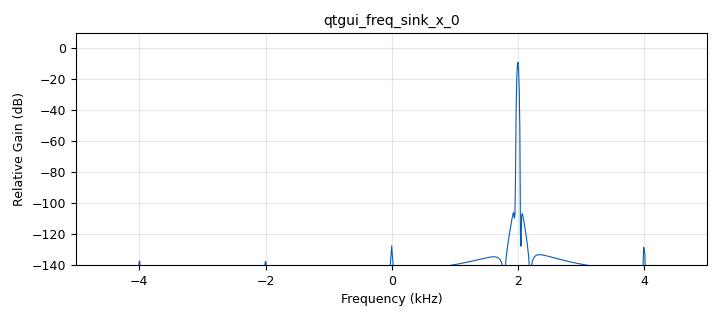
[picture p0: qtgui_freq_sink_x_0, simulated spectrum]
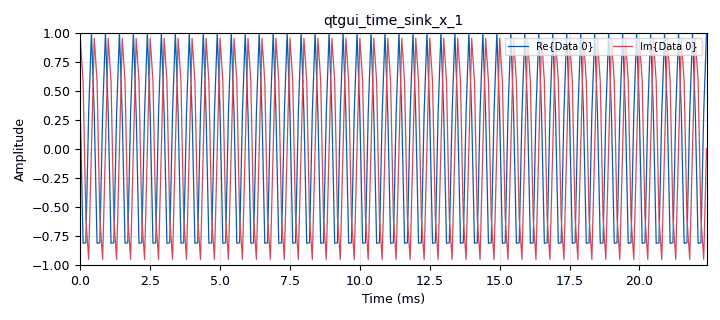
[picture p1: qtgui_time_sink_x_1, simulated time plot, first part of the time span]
options:
  parameters:
    author: gnuradio
    generate_options: qt_gui
    id: ECE531_Lab1c
    output_language: python
    title: Not titled yet
  states: {}

blocks:
- name: freq
  id: variable
  parameters:
    value: '2000'
  states: {}
- name: frequency
  id: variable_qtgui_range
  parameters:
    orient: Qt.Horizontal
    start: '0'
    step: '100'
    stop: '15000'
    value: '2000'
  states: {}
- name: sample_rate
  id: variable_qtgui_range
  parameters:
    min_len: '1000'
    orient: Qt.Horizontal
    start: '1000'
    step: '1000'
    stop: '40000'
    value: '10000'
  states: {}
- name: analog_sig_source_x_0
  id: analog_sig_source_x
  parameters:
    amp: '1'
    freq: frequency
    offset: '0'
    phase: '0'
    samp_rate: sample_rate
    type: complex
    waveform: analog.GR_SIN_WAVE
  states: {}
- name: blocks_throttle_0
  id: blocks_throttle
  parameters:
    samples_per_second: freq
    type: complex
  states: {}
- name: qtgui_freq_sink_x_0
  id: qtgui_freq_sink_x
  parameters:
    bw: sample_rate
    fc: '0'
    fftsize: '1024'
    gui_hint: tabs@1
    showports: 'True'
    type: complex
    wintype: firdes.WIN_BLACKMAN_hARRIS
  states: {}
- name: qtgui_time_sink_x_0
  id: qtgui_time_sink_x
  parameters:
    label1: ''
    size: '1024'
    srate: '10000'
    type: float
  states: {state: disabled}
- name: qtgui_time_sink_x_1
  id: qtgui_time_sink_x
  parameters:
    gui_hint: tabs@0
    label1: ''
    label2: ''
    size: '1024'
    srate: sample_rate
    type: complex
  states: {}
- name: tabs
  id: qtgui_tab_widget
  parameters:
    label0: Time
    label1: Frequency
    num_tabs: '2'
  states: {}

connections:
- [analog_sig_source_x_0, '0', blocks_throttle_0, '0']
- [blocks_throttle_0, '0', qtgui_freq_sink_x_0, '0']
- [blocks_throttle_0, '0', qtgui_time_sink_x_0, '0']
- [blocks_throttle_0, '0', qtgui_time_sink_x_1, '0']

metadata:
  file_format: 1
